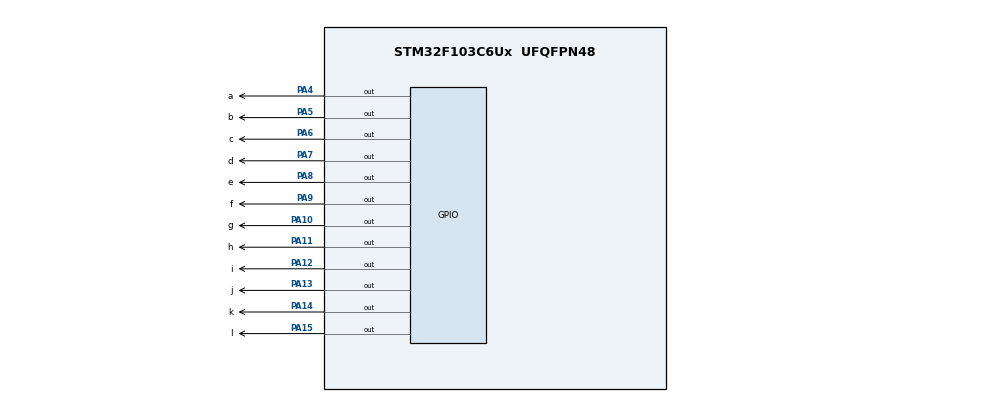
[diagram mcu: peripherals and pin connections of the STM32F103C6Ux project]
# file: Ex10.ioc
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Mcu.Family=STM32F1
Mcu.Name=STM32F103C6Ux
Mcu.Package=UFQFPN48
NVIC.PriorityGroup=NVIC_PRIORITYGROUP_4
PA10.GPIO_Label=g
PA10.Signal=GPIO_Output
PA11.GPIO_Label=h
PA11.Signal=GPIO_Output
PA12.GPIO_Label=i
PA12.Signal=GPIO_Output
PA13.GPIO_Label=j
PA13.Signal=GPIO_Output
PA14.GPIO_Label=k
PA14.Signal=GPIO_Output
PA15.GPIO_Label=l
PA15.Signal=GPIO_Output
PA4.GPIO_Label=a
PA4.Signal=GPIO_Output
PA5.GPIO_Label=b
PA5.Signal=GPIO_Output
PA6.GPIO_Label=c
PA6.Signal=GPIO_Output
PA7.GPIO_Label=d
PA7.Signal=GPIO_Output
PA8.GPIO_Label=e
PA8.Signal=GPIO_Output
PA9.GPIO_Label=f
PA9.Signal=GPIO_Output
ProjectManager.HeapSize=0x200
ProjectManager.StackSize=0x400
ProjectManager.TargetToolchain=STM32CubeIDE
RCC.APB1Freq_Value=8000000
RCC.APB2Freq_Value=8000000
VP_SYS_VS_ND.Mode=No_Debug
board=custom

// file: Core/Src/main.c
/* USER CODE BEGIN Header */
/**
  ******************************************************************************
  * @file           : main.c
  * @brief          : Main program body
  ******************************************************************************
  * @attention
  *
  * <h2><center>&copy; Copyright (c) 2022 STMicroelectronics.
  * All rights reserved.</center></h2>
  *
  * This software component is licensed by ST under BSD 3-Clause license,
  * the "License"; You may not use this file except in compliance with the
  * License. You may obtain a copy of the License at:
  *                        opensource.org/licenses/BSD-3-Clause
  *
  ******************************************************************************
  */
/* USER CODE END Header */
#include "main.h"

void SystemClock_Config(void);
static void MX_GPIO_Init(void);
/* USER CODE BEGIN PFP */
void clock(int h,int m,int s);
void clearAllClock();
void setNumberOnClock(int num);
/* USER CODE END PFP */

int main(void)
{

  /* MCU Configuration--------------------------------------------------------*/

  /* Reset of all peripherals, Initializes the Flash interface and the Systick. */
  HAL_Init();

  /* USER CODE BEGIN Init */
  int hour=0, minute=0, second=0;
  /* USER CODE END Init */

  /* Configure the system clock */
  SystemClock_Config();

  /* Initialize all configured peripherals */
  MX_GPIO_Init();

  /* Infinite loop */
  while (1)
  {
	  	     if(second==60)
	  	  		 {
	  	  		 minute+=1;
	  	  		 second=0;
	  	  		 }
	  	  	 if(minute==60)
	  	  	 {
	  	  		 hour+=1;
	  	  		 minute=0;
	  	  	 }
	  	  	 if(hour==12)
	  	  	 {
	  	  		hour=0;
	  	  	 }
	  	  	 clock(hour,minute,second);
	  	  	second++;

	  	  	 HAL_Delay(50);
  }
}

void SystemClock_Config(void)
{
  RCC_OscInitTypeDef RCC_OscInitStruct = {0};
  RCC_ClkInitTypeDef RCC_ClkInitStruct = {0};

  /** Initializes the RCC Oscillators according to the specified parameters
  * in the RCC_OscInitTypeDef structure.
  */
  RCC_OscInitStruct.OscillatorType = RCC_OSCILLATORTYPE_HSI;
  RCC_OscInitStruct.HSIState = RCC_HSI_ON;
  RCC_OscInitStruct.HSICalibrationValue = RCC_HSICALIBRATION_DEFAULT;
  RCC_OscInitStruct.PLL.PLLState = RCC_PLL_NONE;
  if (HAL_RCC_OscConfig(&RCC_OscInitStruct) != HAL_OK)
  {
    Error_Handler();
  }
  /** Initializes the CPU, AHB and APB buses clocks
  */
  RCC_ClkInitStruct.ClockType = RCC_CLOCKTYPE_HCLK|RCC_CLOCKTYPE_SYSCLK
                              |RCC_CLOCKTYPE_PCLK1|RCC_CLOCKTYPE_PCLK2;
  RCC_ClkInitStruct.SYSCLKSource = RCC_SYSCLKSOURCE_HSI;
  RCC_ClkInitStruct.AHBCLKDivider = RCC_SYSCLK_DIV1;
  RCC_ClkInitStruct.APB1CLKDivider = RCC_HCLK_DIV1;
  RCC_ClkInitStruct.APB2CLKDivider = RCC_HCLK_DIV1;

  if (HAL_RCC_ClockConfig(&RCC_ClkInitStruct, FLASH_LATENCY_0) != HAL_OK)
  {
    Error_Handler();
  }
}

static void MX_GPIO_Init(void)
{
  GPIO_InitTypeDef GPIO_InitStruct = {0};

  /* GPIO Ports Clock Enable */
  __HAL_RCC_GPIOA_CLK_ENABLE();

  /*Configure GPIO pin Output Level */
  HAL_GPIO_WritePin(GPIOA, a_Pin|b_Pin|c_Pin|d_Pin
                          |e_Pin|f_Pin|g_Pin|h_Pin
                          |i_Pin|j_Pin|k_Pin|l_Pin, GPIO_PIN_RESET);

  /*Configure GPIO pins : a_Pin b_Pin c_Pin d_Pin
                           e_Pin f_Pin g_Pin h_Pin
                           i_Pin j_Pin k_Pin l_Pin */
  GPIO_InitStruct.Pin = a_Pin|b_Pin|c_Pin|d_Pin
                          |e_Pin|f_Pin|g_Pin|h_Pin
                          |i_Pin|j_Pin|k_Pin|l_Pin;
  GPIO_InitStruct.Mode = GPIO_MODE_OUTPUT_PP;
  GPIO_InitStruct.Pull = GPIO_NOPULL;
  GPIO_InitStruct.Speed = GPIO_SPEED_FREQ_LOW;
  HAL_GPIO_Init(GPIOA, &GPIO_InitStruct);

}

/* USER CODE BEGIN 4 */
void clock(int hour,int minute,int second)
{
	clearAllClock();
	setNumberOnClock(second%12);
	setNumberOnClock(minute%12);
	setNumberOnClock(hour);
}

void clearAllClock()
{
	HAL_GPIO_WritePin(GPIOA, a_Pin|b_Pin|c_Pin|d_Pin|e_Pin|f_Pin|g_Pin|h_Pin|i_Pin|j_Pin|k_Pin|l_Pin, GPIO_PIN_SET);
}

void setNumberOnClock(int num)
{
	switch (num)
		{
		case 0:
			HAL_GPIO_WritePin(GPIOA, a_Pin, GPIO_PIN_RESET);
			break;
		case 1:
			HAL_GPIO_WritePin(GPIOA, b_Pin, GPIO_PIN_RESET);
			break;
		case 2:
			HAL_GPIO_WritePin(GPIOA, c_Pin, GPIO_PIN_RESET);
			break;
		case 3:
			HAL_GPIO_WritePin(GPIOA, d_Pin, GPIO_PIN_RESET);
			break;
		case 4:
			HAL_GPIO_WritePin(GPIOA, e_Pin, GPIO_PIN_RESET);
			break;
		case 5:
			HAL_GPIO_WritePin(GPIOA, f_Pin, GPIO_PIN_RESET);
				break;
		case 6:
			HAL_GPIO_WritePin(GPIOA, g_Pin, GPIO_PIN_RESET);
				break;
		case 7:
			HAL_GPIO_WritePin(GPIOA, h_Pin, GPIO_PIN_RESET);
				break;
		case 8:
			HAL_GPIO_WritePin(GPIOA, i_Pin, GPIO_PIN_RESET);
				break;
			case 9:
				HAL_GPIO_WritePin(GPIOA, j_Pin, GPIO_PIN_RESET);
				break;
			case 10:
				HAL_GPIO_WritePin(GPIOA, k_Pin, GPIO_PIN_RESET);
				break;
			case 11:
				HAL_GPIO_WritePin(GPIOA, l_Pin, GPIO_PIN_RESET);
				break;
			default: break;
		}

}

/* USER CODE END 4 */

void Error_Handler(void)
{
  __disable_irq();
  while (1)
  {
  }
}

/************************ (C) COPYRIGHT STMicroelectronics *****END OF FILE****/
